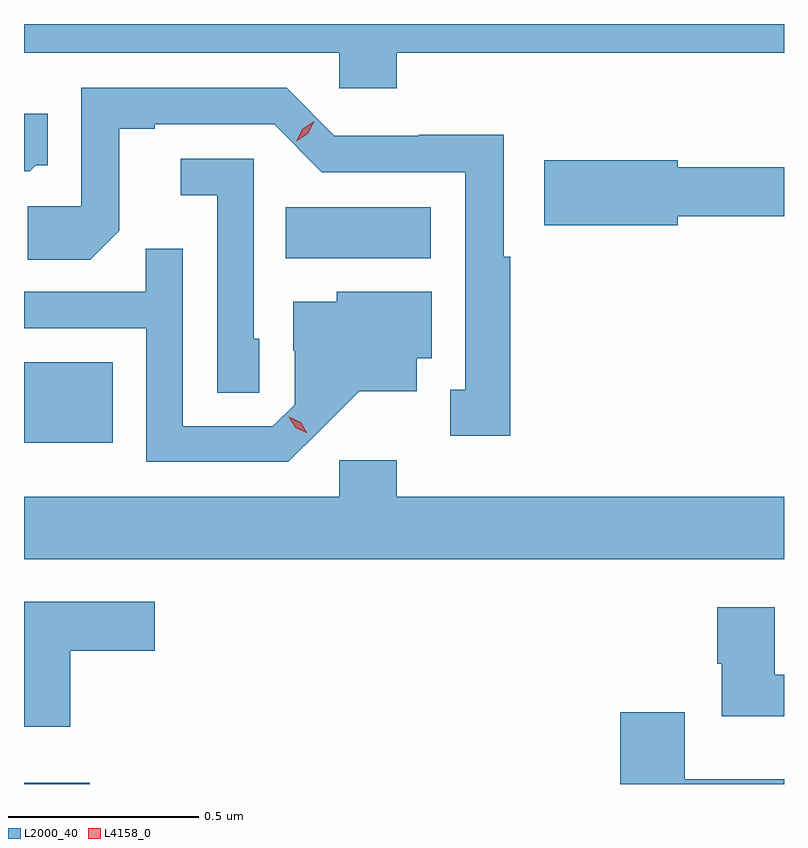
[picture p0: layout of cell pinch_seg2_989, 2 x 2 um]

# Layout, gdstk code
import gdstk
lib = gdstk.Library(unit=1e-6, precision=1e-09)
def R(c, l, rs):  # rectangles x0, y0, x1, y1
    for r in rs: c.add(gdstk.rectangle(r[:2], r[2:], *l))
def P(c, l, *ps):  # polygons
    for p in ps: c.add(gdstk.Polygon(p, *l))
L2000_40 = (2000, 40)
L4158_0 = (4158, 0)

pinch_seg2_989 = lib.new_cell('pinch_seg2_989')
R(pinch_seg2_989, L2000_40, [(323.825,639.052,323.998,639.055), (323.825,639.95,324.058,640.162), (324.514,640.436,324.895,640.57)])
P(pinch_seg2_989, L2000_40, [(324.806,640.976),(325.825,640.976),(325.825,641.052),(323.825,641.052),(323.825,640.976),(324.654,640.976),(324.654,640.883),(324.806,640.883)],
  [(325.105,640.439),(325.087,640.439),(325.087,640.76),(324.864,640.76),(324.864,640.758),(324.642,640.758),(324.516,640.884),(323.976,640.884),(323.976,640.572),(323.835,640.572),(323.835,640.432),(323.999,640.432),(324.075,640.508),(324.075,640.776),(324.169,640.776),(324.169,640.788),(324.483,640.788),(324.609,640.662),(324.986,640.662),(324.986,640.089),(324.947,640.089),(324.947,639.969),(325.105,639.969)],
  [(323.856,640.68),(323.887,640.68),(323.887,640.816),(323.825,640.816),(323.825,640.664),(323.84,640.664)],
  [(324.444,640.224),(324.429,640.224),(324.429,640.698),(324.237,640.698),(324.237,640.601),(324.333,640.601),(324.333,640.081),(324.444,640.081)],
  [(325.546,640.546),(325.825,640.546),(325.825,640.675),(325.546,640.675),(325.546,640.693),(325.194,640.693),(325.194,640.523),(325.546,640.523)],
  [(324.604,639.983),(324.707,640.085),(324.859,640.085),(324.859,640.172),(324.898,640.172),(324.898,640.348),(324.648,640.348),(324.648,640.321),(324.533,640.321),(324.533,640.192),(324.537,640.192),(324.537,640.05),(324.48,639.993),(324.243,639.993),(324.243,640.46),(324.145,640.46),(324.145,640.347),(323.825,640.347),(323.825,640.251),(324.147,640.251),(324.147,639.9),(324.52,639.9)],
  [(325.825,639.808),(324.806,639.808),(324.806,639.904),(324.654,639.904),(324.654,639.808),(323.825,639.808),(323.825,639.644),(325.825,639.644)],
  [(323.947,639.403),(324.169,639.403),(324.169,639.532),(323.825,639.532),(323.825,639.203),(323.947,639.203)],
  [(325.825,639.34),(325.801,639.34),(325.801,639.517),(325.649,639.517),(325.649,639.369),(325.661,639.369),(325.661,639.23),(325.825,639.23)],
  [(325.825,639.064),(325.564,639.064),(325.564,639.241),(325.394,639.241),(325.394,639.052),(325.825,639.052)])
P(pinch_seg2_989, L4158_0, [(324.541,640.744),(324.541,640.744),(324.558,640.777),(324.589,640.796),(324.589,640.796),(324.589,640.796),(324.572,640.763),(324.541,640.744)],
  [(324.571,639.975),(324.54,639.989),(324.522,640.018),(324.522,640.018),(324.522,640.018),(324.553,640.004),(324.571,639.975),(324.571,639.975)])

lib.write_gds('pinch_seg2_989.gds')
